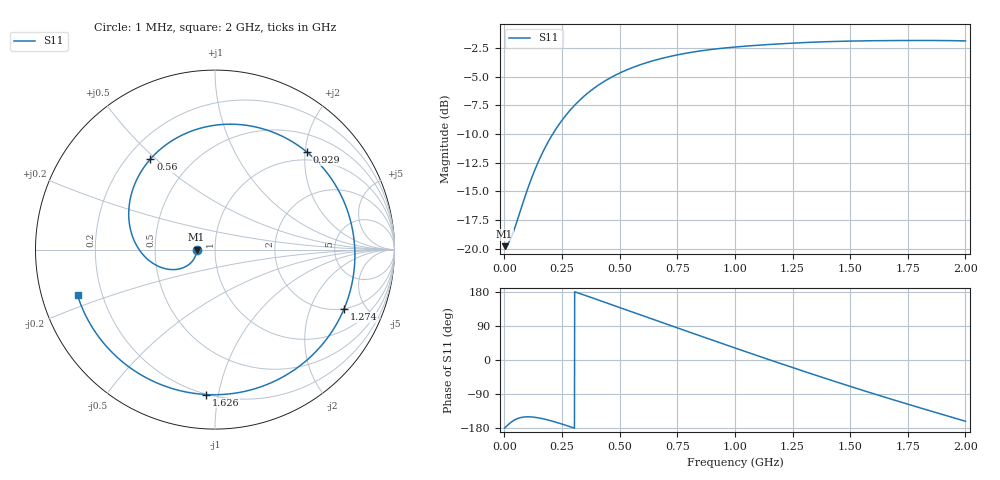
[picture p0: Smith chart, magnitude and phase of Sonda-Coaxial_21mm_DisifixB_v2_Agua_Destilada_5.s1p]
! TOUCHSTONE file generated by CST MICROWAVE STUDIO
! Date and time: Sun Aug  2 00:10:31 2026
! Project name: Sonda-Coaxial_21mm_DisifixB_v2_Agua_Destilada.cst
! Parameters = {h_recipiente=20; l_conector=50; r_arandela=35; r_ext=10.5; r_int=3; r_recipiente=100; z_recipiente=-100}
! Header version: 2018
! Port assignment regex: !\s*Touchstone port\s*([0-9]+)\s*=\s*(CST MWS port|CST DS port)\s*([0-9]+|Zmin|Zmax)\s*\(\"(.*)\"\)(\s*mode\s*([0-9]+))?.*
! Touchstone port assignment:
! Touchstone port 1 = CST MWS port 1 ("")
# GHz S RI R 50
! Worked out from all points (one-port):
!   2000 points, 1 MHz to 2 GHz, reference 50 ohm
!   lowest |S11| = -19.8 dB at 1 MHz (marker M1), VSWR 1.23, Z = 40.7 - j0.0871 ohm
!   |S11| at or under -10 dB: start of sweep to 209.5 MHz
!   S11 on the Smith chart (normalised r, x): 1 MHz: 0.81, -0.00; 560 MHz: 0.29, +0.48; 929 MHz: 0.83, +2.04; 1.274 GHz: 1.98, -3.51; 1.626 GHz: 0.20, -0.92; 2 GHz: 0.11, -0.16
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0.001  -0.1025 -0.00106
0.034  -0.1091 -0.0354
0.139  -0.202 -0.1083
0.195  -0.2793 -0.1058
0.251  -0.3582 -0.0679
0.321  -0.4383 0.0254
0.382  -0.476 0.1381
0.442  -0.4756 0.2641
0.501  -0.4362 0.3894
0.56  -0.3603 0.5041
0.66  -0.1627 0.6475
0.751  0.0655 0.6984
0.838  0.2948 0.6642
0.929  0.5117 0.5437
1.001  0.6466 0.3973
1.065  0.7297 0.2398
1.127  0.7725 0.0722
1.189  0.7764 -0.1011
1.251  0.7413 -0.2709
1.274  0.7187 -0.3312
1.394  0.5272 -0.6023
1.501  0.2786 -0.756
1.563  0.1168 -0.7991
1.626  -0.0508 -0.8074
1.688  -0.2119 -0.7817
1.751  -0.3649 -0.7236
1.883  -0.6269 -0.5132
2  -0.7658 -0.2549
